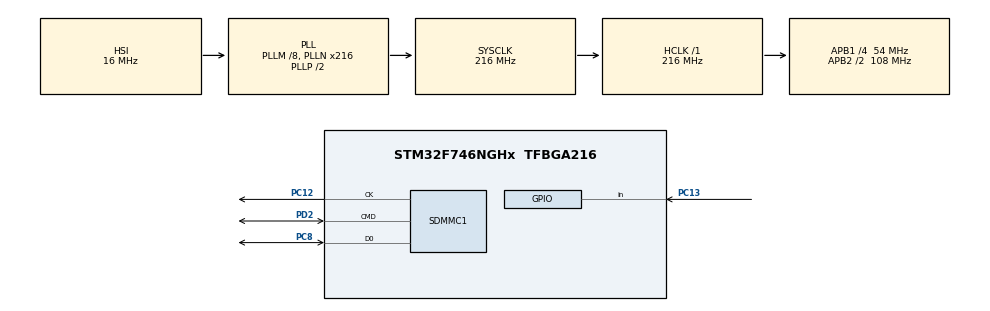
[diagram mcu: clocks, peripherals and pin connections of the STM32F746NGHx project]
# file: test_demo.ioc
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CORTEX_M7.CPU_DCache=Enabled
CORTEX_M7.CPU_ICache=Enabled
Dma.Request0=SDMMC1_RX
Dma.SDMMC1_RX.0.Direction=DMA_PERIPH_TO_MEMORY
Dma.SDMMC1_RX.0.FIFOMode=DMA_FIFOMODE_ENABLE
Dma.SDMMC1_RX.0.FIFOThreshold=DMA_FIFO_THRESHOLD_FULL
Dma.SDMMC1_RX.0.Instance=DMA2_Stream3
Dma.SDMMC1_RX.0.MemBurst=DMA_MBURST_INC4
Dma.SDMMC1_RX.0.MemDataAlignment=DMA_MDATAALIGN_WORD
Dma.SDMMC1_RX.0.MemInc=DMA_MINC_ENABLE
Dma.SDMMC1_RX.0.Mode=DMA_PFCTRL
Dma.SDMMC1_RX.0.PeriphBurst=DMA_PBURST_INC4
Dma.SDMMC1_RX.0.PeriphDataAlignment=DMA_PDATAALIGN_WORD
Dma.SDMMC1_RX.0.PeriphInc=DMA_PINC_DISABLE
Dma.SDMMC1_RX.0.Priority=DMA_PRIORITY_LOW
FATFS.BSP.number=1
FATFS0.BSP.STBoard=false
FATFS0.BSP.api=Unknown
FATFS0.BSP.instance=PC13
FATFS0.BSP.ip=GPIO
FATFS0.BSP.mode=Input
FATFS0.BSP.name=Detect_SDIO
FATFS0.BSP.solution=PC13
Mcu.Family=STM32F7
Mcu.Name=STM32F746NGHx
Mcu.Package=TFBGA216
NVIC.DMA2_Stream3_IRQn=true\:0\:0\:false\:false\:true\:false\:true\:true
NVIC.PriorityGroup=NVIC_PRIORITYGROUP_4
PA13.Mode=Trace_Asynchronous_SW
PA13.Signal=SYS_JTMS-SWDIO
PA14.Mode=Trace_Asynchronous_SW
PA14.Signal=SYS_JTCK-SWCLK
PB3.Mode=Trace_Asynchronous_SW
PB3.Signal=SYS_JTDO-SWO
PC12.Mode=SD_1_bit
PC12.Signal=SDMMC1_CK
PC13.GPIO_PuPd=GPIO_PULLUP
PC13.Signal=GPIO_Input
PC8.Mode=SD_1_bit
PC8.Signal=SDMMC1_D0
PD2.Mode=SD_1_bit
PD2.Signal=SDMMC1_CMD
PH0/OSC_IN.Mode=HSE-External-Oscillator
PH0/OSC_IN.Signal=RCC_OSC_IN
PH1/OSC_OUT.Mode=HSE-External-Oscillator
PH1/OSC_OUT.Signal=RCC_OSC_OUT
ProjectManager.HeapSize=0x8000
ProjectManager.StackSize=0x4000
ProjectManager.TargetToolchain=STM32CubeIDE
RCC.AHBFreq_Value=216000000
RCC.APB1CLKDivider=RCC_HCLK_DIV4
RCC.APB1Freq_Value=54000000
RCC.APB1TimFreq_Value=108000000
RCC.APB2CLKDivider=RCC_HCLK_DIV2
RCC.APB2Freq_Value=108000000
RCC.APB2TimFreq_Value=216000000
RCC.CortexFreq_Value=216000000
RCC.HCLKFreq_Value=216000000
RCC.HSE_VALUE=25000000
RCC.HSI_VALUE=16000000
RCC.LSE_VALUE=32768
RCC.PLLM=8
RCC.PLLN=216
RCC.PLLQ=9
RCC.PLLSourceVirtual=RCC_PLLSOURCE_HSI
RCC.SDMMCClockSelection=RCC_SDMMC1CLKSOURCE_CLK48
RCC.SYSCLKFreq_VALUE=216000000
RCC.SYSCLKSource=RCC_SYSCLKSOURCE_PLLCLK
RCC.USBFreq_Value=48000000
RCC.VCOOutputFreq_Value=432000000
STMicroelectronics.X-CUBE-AI.7.0.0.ActivationBufferSizeList=250980
STMicroelectronics.X-CUBE-AI.7.0.0.HeapSize=0x8000
STMicroelectronics.X-CUBE-AI.7.0.0.InternalRamActivationBufferMaxSize=AI_NETWORK_DATA_ACTIVATIONS_SIZE
STMicroelectronics.X-CUBE-AI.7.0.0.LatestDirectoryUsed-865669ab1286e10dd61969507df5354d43dec8fd3103bf9847b13f9ca5f83a72=C\:\\Users\\USER\\OneDrive\\Documents\\model-training-stm32\\image_classification\\src\\experiments_outputs\\2024_11_22_15_24_55\\quantized_models
STMicroelectronics.X-CUBE-AI.7.0.0.MaximumNumberOfInputLayer=1
STMicroelectronics.X-CUBE-AI.7.0.0.MaximumNumberOfOutputLayer=1
STMicroelectronics.X-CUBE-AI.7.0.0.MaximumSizeOfInputLayer=AI_NETWORK_IN_1_SIZE_BYTES
STMicroelectronics.X-CUBE-AI.7.0.0.MaximumSizeOfOutputLayer=AI_NETWORK_OUT_1_SIZE_BYTES
STMicroelectronics.X-CUBE-AI.7.0.0.ModelActualCompression-865669ab1286e10dd61969507df5354d43dec8fd3103bf9847b13f9ca5f83a72=0.0
STMicroelectronics.X-CUBE-AI.7.0.0.ModelCompression-865669ab1286e10dd61969507df5354d43dec8fd3103bf9847b13f9ca5f83a72=1
STMicroelectronics.X-CUBE-AI.7.0.0.ModelFlashOccupation-865669ab1286e10dd61969507df5354d43dec8fd3103bf9847b13f9ca5f83a72=411492
STMicroelectronics.X-CUBE-AI.7.0.0.ModelHashList=865669ab1286e10dd61969507df5354d43dec8fd3103bf9847b13f9ca5f83a72
STMicroelectronics.X-CUBE-AI.7.0.0.ModelKind-865669ab1286e10dd61969507df5354d43dec8fd3103bf9847b13f9ca5f83a72=TFLITE
STMicroelectronics.X-CUBE-AI.7.0.0.ModelMacc-865669ab1286e10dd61969507df5354d43dec8fd3103bf9847b13f9ca5f83a72=19094660
STMicroelectronics.X-CUBE-AI.7.0.0.ModelName-865669ab1286e10dd61969507df5354d43dec8fd3103bf9847b13f9ca5f83a72=network
STMicroelectronics.X-CUBE-AI.7.0.0.ModelNameList=network
STMicroelectronics.X-CUBE-AI.7.0.0.ModelRamOccupation-865669ab1286e10dd61969507df5354d43dec8fd3103bf9847b13f9ca5f83a72=250980
STMicroelectronics.X-CUBE-AI.7.0.0.ModelStructureFile-865669ab1286e10dd61969507df5354d43dec8fd3103bf9847b13f9ca5f83a72=C\:\\Users\\USER\\OneDrive\\Documents\\model-training-stm32\\image_classification\\src\\experiments_outputs\\2024_11_22_15_24_55\\quantized_models\\quantized_model.tflite
STMicroelectronics.X-CUBE-AI.7.0.0.ModelType-865669ab1286e10dd61969507df5354d43dec8fd3103bf9847b13f9ca5f83a72=STM32Cube.AI runtime
STMicroelectronics.X-CUBE-AI.7.0.0.ReadyForCodeGeneration=true
STMicroelectronics.X-CUBE-AI.7.0.0.StackSize=0x4000
STMicroelectronics.X-CUBE-AI.7.0.0.WorkingBufferStartAddrList=0xFFFFFFFF
STMicroelectronics.X-CUBE-AI.7.0.0.XAaCUBEAaAICcArtificialOoIntelligenceJjCore=true
VP_CRC_VS_CRC.Mode=CRC_Activate
VP_FATFS_VS_SDIO.Mode=SDIO
VP_LIBJPEG_VS_JPEGLIB.Mode=Enabled
VP_STMicroelectronics.X-CUBE-AI_VS_ArtificialOoIntelligenceJjXAaCUBEAaAI_7.0.0.Mode=ArtificialOoIntelligenceJjXAaCUBEAaAI
board=STM32F746G-DISCO

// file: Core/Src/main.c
/* USER CODE BEGIN Header */
/**
  ******************************************************************************
  * @file           : main.c
  * @brief          : Main program body
  ******************************************************************************
  * @attention
  *
  * Copyright (c) 2024 STMicroelectronics.
  * All rights reserved.
  *
  * This software is licensed under terms that can be found in the LICENSE file
  * in the root directory of this software component.
  * If no LICENSE file comes with this software, it is provided AS-IS.
  *
  ******************************************************************************
  */
/* USER CODE END Header */
#include "main.h"
#include "fatfs.h"
#include "libjpeg.h"

/* USER CODE BEGIN Includes */
#include <string.h>
#include <stdlib.h>
#include <stdio.h>
#include <stdint.h>

// for BSP
#include "stm32746g_discovery.h"
#include "stm32746g_discovery_lcd.h"
#include "stm32746g_discovery_sdram.h"

// for AI
#include "ai_datatypes_defines.h"
#include "ai_platform.h"
#include "network.h"	// AI model header
#include "network_data.h"	// AI model data header

/* USER CODE END Includes */

/* USER CODE BEGIN PTD */
FATFS fs;             // File system object
FIL file;             // File object
uint8_t workBuffer[512]; // Work buffer for FATFS
extern SDRAM_HandleTypeDef sdramHandle;     // SDRAM handle
extern LTDC_HandleTypeDef hLtdcHandler; // LTDC handle

/* USER CODE END PTD */

CRC_HandleTypeDef hcrc;

SD_HandleTypeDef hsd1;
DMA_HandleTypeDef hdma_sdmmc1_rx;
DMA_HandleTypeDef hdma_sdmmc1_tx;

void SystemClock_Config(void);
static void MX_GPIO_Init(void);
static void MX_DMA_Init(void);
static void MX_SDMMC1_SD_Init(void);
static void MX_CRC_Init(void);
/* USER CODE BEGIN PFP */
void LCD_Init(void);
void DisplayJPG(const char *filename);
int read_binary_file(const char *file_name, uint8_t *buffer, uint32_t buffer_size);
int has_bin_extension(const char *filename);
int has_corresponding_jpg(const char *bin_filename, char *jpg_filename);

/* USER CODE END PFP */

int main(void)
{

  /* Enable the CPU Cache */

  /* Enable I-Cache---------------------------------------------------------*/
  SCB_EnableICache();

  /* Enable D-Cache---------------------------------------------------------*/
  SCB_EnableDCache();

  /* MCU Configuration--------------------------------------------------------*/

  /* Reset of all peripherals, Initializes the Flash interface and the Systick. */
  HAL_Init();

  /* Configure the system clock */
  SystemClock_Config();

  /* Initialize all configured peripherals */
  MX_GPIO_Init();
  MX_DMA_Init();
  MX_SDMMC1_SD_Init();
  MX_FATFS_Init();
  MX_LIBJPEG_Init();
  MX_CRC_Init();
  /* USER CODE BEGIN 2 */
  HAL_Delay(1000);

  // Debug SD initialization
  printf("Initializing SD...\n");
  if (BSP_SD_Init() != MSD_OK) {
  		printf("SD card initialization failed\n");
  		while (1);  // Stop execution if SD card initialization fails
  	}
  printf("SD initialized successfully\n");

  // Debug SDRAM Initialization
  printf("Initializing SDRAM...\n");
  if (BSP_SDRAM_Init() != SDRAM_OK) {
      printf("SDRAM initialization failed\n");
      Error_Handler();
  }
	printf("SDRAM initialized successfully\n");

	// Debug LCD Initialization
	printf("Initializing LCD...\n");
	LCD_Init();
	printf("LCD initialized successfully\n");

	if (f_mount(&fs, (TCHAR const*) SDPath, 0) == FR_OK) {
		printf("SD card mounted successfully\n");
	} else {
		printf("Failed to mount SD card\n");
		while (1);  // Stop execution if mounting fails
	}
	// Test directory access
	DIR dir;
	FRESULT res = f_opendir(&dir, SDPath);  // Test root directory access
	if (res == FR_OK) {
		printf("Root directory accessed successfully.\n");
		f_closedir(&dir);  // Close the directory
	} else {
		printf("Failed to access SD card root directory. Error code: %d\n",res);
		if (res == FR_INVALID_NAME) {
			printf("Hint: Invalid path or SD card not formatted properly.\n");
		}
		while (1);  // Stop execution if directory access fails
	}

	/* AI initialization */
	ai_error ai_err;
	ai_i8 nbatch;

	// Chunk of memory used to hold intermediate values for neural network
	AI_ALIGNED(4) ai_u8 activations[AI_NETWORK_DATA_ACTIVATIONS_SIZE];

	// Buffers used to store input and output tensor
	AI_ALIGNED(4) ai_u8 in_data[AI_NETWORK_IN_1_SIZE_BYTES];
	AI_ALIGNED(4) ai_float out_data[AI_NETWORK_OUT_1_SIZE_BYTES];

	// Pointer to our model
	ai_handle robotDetection = AI_HANDLE_NULL;

	// Initialize wrapper structures that hold pointers to data and info
	// about data (tensor height, width, channels)
	ai_buffer ai_input_network[AI_NETWORK_IN_NUM] = AI_NETWORK_IN;
	ai_buffer ai_output_network[AI_NETWORK_OUT_NUM] = AI_NETWORK_OUT;

	// Set working memory and get weights/biases from model
	ai_network_params ai_params = AI_NETWORK_PARAMS_INIT(AI_NETWORK_DATA_WEIGHTS(ai_network_data_weights_get()), AI_NETWORK_DATA_ACTIVATIONS(activations));

	// Set pointers wrapper structures to our data buffers
	ai_input_network[0].n_batches = 1;
	ai_input_network[0].data = AI_HANDLE_PTR(in_data);
	ai_output_network[0].n_batches = 1;
	ai_output_network[0].data = AI_HANDLE_PTR(out_data);

	printf("Initializing neural network...\n");
	ai_err = ai_network_create(&robotDetection, AI_NETWORK_DATA_CONFIG);
	if (ai_err.type != AI_ERROR_NONE) {
		printf("Error Creating NN");
		while (1);
	}
	if (!ai_network_init(robotDetection, &ai_params)) {
		printf("Initializing NN Error");
		while (1);
	}

	printf("Neural network initialized\n");

	uint32_t counter = 1; // Track file count
	char buffer[20];
//	HAL_Delay(1000);
  /* USER CODE END 2 */

  /* Infinite loop */
  while (1)
  {

    /* USER CODE BEGIN 3 */

	DIR dir;
	FILINFO fno;
	FRESULT res;

	char test_path[100] = "test2"; // Path to the test folder

	// Open the test directory
	res = f_opendir(&dir, test_path);
	if (res != FR_OK) {
		printf("Failed to open test directory. Error code: %d\n", res);
		while (1);  // Stop execution if directory can't be opened
	}

	// Read files from the directory
	while (1) {
		res = f_readdir(&dir, &fno); // Read a directory item
		if (res != FR_OK || fno.fname[0] == 0)
			break; // Break on error or end of directory

		if (fno.fattrib & AM_DIR) {
			// It's a directory; skip it
			continue;
		} else {
			// Check if the file has a .bin extension
			if (has_bin_extension(fno.fname)) {
				// Display the filename being processed on the LCD
				BSP_LCD_DisplayStringAt(0, 35,(uint8_t*) "Processing File:", CENTER_MODE);
				BSP_LCD_DisplayStringAt(0, 55, (uint8_t*) fno.fname,CENTER_MODE);
				printf("\nProcessing %s\n", fno.fname);

				// Check for a corresponding .jpg file
				char jpg_filename[100];
                if (has_corresponding_jpg(fno.fname, jpg_filename)) {
                    // Display the .jpg file
                    printf("Displaying image: %s\n", jpg_filename);
                    DisplayJPG(jpg_filename); // Function to display the .jpg file on the LCD
                    HAL_Delay(3000); // Add delay for user to see the image
                } else {
                    printf("No corresponding image found for %s\n", fno.fname);
                }

                // Read the binary file into in_data
				if (read_binary_file(fno.fname, in_data, sizeof(in_data))!= 0) {
					printf("read error\n");
					HAL_Delay(2000); // Wait before continuing
					continue; // Skip to the next file
				}

				// Display "Performing Inference" on the LCD
				BSP_LCD_DisplayStringAt(0, 110,(uint8_t*) "Performing Inference", CENTER_MODE);

				// Perform inference
				uint32_t start_time = HAL_GetTick();
				nbatch = ai_network_run(robotDetection,&ai_input_network[0], &ai_output_network[0]);
				uint32_t end_time = HAL_GetTick();
				uint32_t inference_time = end_time - start_time;

				if (nbatch <= 0) {
					printf("Inference failed for %s\n", fno.fname);
					HAL_Delay(2000); // Wait before continuing
					continue; // Skip to the next file
				}

				// Extract confidence scores
				float confidence_robot = ((float*) out_data)[0];
				float confidence_non_robot = 1.0f - confidence_robot;

				char result_buffer[50];
				char time_buffer[30];

				// Determine the output based on confidence
				if (confidence_robot >= 0.5) {
					snprintf(result_buffer, sizeof(result_buffer),"Robot: %.2f%%", confidence_robot * 100.0);
					BSP_LCD_SetBackColor(LCD_COLOR_GREEN);
					BSP_LCD_DisplayStringAt(0, 130,(uint8_t*) "Robot Detected", CENTER_MODE);
					printf("Performing inference %s\n", fno.fname);
					printf("Robot confidence: %.2f%%\n", confidence_robot * 100.0);
					printf("Output: Robot detected\n");
				} else {
					snprintf(result_buffer, sizeof(result_buffer),"Non-Robot: %.2f%%", confidence_non_robot * 100.0);
					BSP_LCD_SetBackColor(LCD_COLOR_BLUE);
					BSP_LCD_DisplayStringAt(0, 130, (uint8_t*) "Non-Robot Detected", CENTER_MODE);
					printf("Performing inference %s\n", fno.fname);
					printf("Non-robot confidence: %.2f%%\n", confidence_non_robot * 100.0);
					printf("Output: Non-robot detected\n");
				}

				snprintf(time_buffer, sizeof(time_buffer), "Time: %lu ms", inference_time);

				// Display results on the LCD
				BSP_LCD_SetBackColor(LCD_COLOR_WHITE);
				BSP_LCD_SetTextColor(LCD_COLOR_BLACK);
				BSP_LCD_DisplayStringAt(0, 170,(uint8_t*) result_buffer, CENTER_MODE);
				BSP_LCD_DisplayStringAt(0, 200, (uint8_t*) time_buffer,CENTER_MODE);

				snprintf(buffer, sizeof(buffer), "File Count: %lu", counter++);
				BSP_LCD_DisplayStringAt(0, 220, (uint8_t *)buffer, CENTER_MODE);

				// Delay
				HAL_Delay(1000);
			}
		}
		BSP_LCD_Clear(LCD_COLOR_WHITE);
	}

	f_closedir(&dir);
	counter = 1;
	BSP_LCD_Clear(LCD_COLOR_WHITE);

  }
  /* USER CODE END 3 */
}

void SystemClock_Config(void)
{
  RCC_OscInitTypeDef RCC_OscInitStruct = {0};
  RCC_ClkInitTypeDef RCC_ClkInitStruct = {0};

  /** Configure the main internal regulator output voltage
  */
  __HAL_RCC_PWR_CLK_ENABLE();
  __HAL_PWR_VOLTAGESCALING_CONFIG(PWR_REGULATOR_VOLTAGE_SCALE1);

  /** Initializes the RCC Oscillators according to the specified parameters
  * in the RCC_OscInitTypeDef structure.
  */
  RCC_OscInitStruct.OscillatorType = RCC_OSCILLATORTYPE_HSI;
  RCC_OscInitStruct.HSIState = RCC_HSI_ON;
  RCC_OscInitStruct.HSICalibrationValue = RCC_HSICALIBRATION_DEFAULT;
  RCC_OscInitStruct.PLL.PLLState = RCC_PLL_ON;
  RCC_OscInitStruct.PLL.PLLSource = RCC_PLLSOURCE_HSI;
  RCC_OscInitStruct.PLL.PLLM = 8;
  RCC_OscInitStruct.PLL.PLLN = 216;
  RCC_OscInitStruct.PLL.PLLP = RCC_PLLP_DIV2;
  RCC_OscInitStruct.PLL.PLLQ = 9;
  if (HAL_RCC_OscConfig(&RCC_OscInitStruct) != HAL_OK)
  {
    Error_Handler();
  }

  /** Activate the Over-Drive mode
  */
  if (HAL_PWREx_EnableOverDrive() != HAL_OK)
  {
    Error_Handler();
  }

  /** Initializes the CPU, AHB and APB buses clocks
  */
  RCC_ClkInitStruct.ClockType = RCC_CLOCKTYPE_HCLK|RCC_CLOCKTYPE_SYSCLK
                              |RCC_CLOCKTYPE_PCLK1|RCC_CLOCKTYPE_PCLK2;
  RCC_ClkInitStruct.SYSCLKSource = RCC_SYSCLKSOURCE_PLLCLK;
  RCC_ClkInitStruct.AHBCLKDivider = RCC_SYSCLK_DIV1;
  RCC_ClkInitStruct.APB1CLKDivider = RCC_HCLK_DIV4;
  RCC_ClkInitStruct.APB2CLKDivider = RCC_HCLK_DIV2;

  if (HAL_RCC_ClockConfig(&RCC_ClkInitStruct, FLASH_LATENCY_7) != HAL_OK)
  {
    Error_Handler();
  }
}

static void MX_CRC_Init(void)
{

  hcrc.Instance = CRC;
  hcrc.Init.DefaultPolynomialUse = DEFAULT_POLYNOMIAL_ENABLE;
  hcrc.Init.DefaultInitValueUse = DEFAULT_INIT_VALUE_ENABLE;
  hcrc.Init.InputDataInversionMode = CRC_INPUTDATA_INVERSION_NONE;
  hcrc.Init.OutputDataInversionMode = CRC_OUTPUTDATA_INVERSION_DISABLE;
  hcrc.InputDataFormat = CRC_INPUTDATA_FORMAT_BYTES;
  if (HAL_CRC_Init(&hcrc) != HAL_OK)
  {
    Error_Handler();
  }

}

static void MX_SDMMC1_SD_Init(void)
{

  hsd1.Instance = SDMMC1;
  hsd1.Init.ClockEdge = SDMMC_CLOCK_EDGE_RISING;
  hsd1.Init.ClockBypass = SDMMC_CLOCK_BYPASS_DISABLE;
  hsd1.Init.ClockPowerSave = SDMMC_CLOCK_POWER_SAVE_DISABLE;
  hsd1.Init.BusWide = SDMMC_BUS_WIDE_1B;
  hsd1.Init.HardwareFlowControl = SDMMC_HARDWARE_FLOW_CONTROL_DISABLE;
  hsd1.Init.ClockDiv = 0;

}

static void MX_DMA_Init(void)
{

  /* DMA controller clock enable */
  __HAL_RCC_DMA2_CLK_ENABLE();

  /* DMA interrupt init */
  /* DMA2_Stream3_IRQn interrupt configuration */
  HAL_NVIC_SetPriority(DMA2_Stream3_IRQn, 0, 0);
  HAL_NVIC_EnableIRQ(DMA2_Stream3_IRQn);
  /* DMA2_Stream6_IRQn interrupt configuration */
  HAL_NVIC_SetPriority(DMA2_Stream6_IRQn, 0, 0);
  HAL_NVIC_EnableIRQ(DMA2_Stream6_IRQn);

}

static void MX_GPIO_Init(void)
{
  GPIO_InitTypeDef GPIO_InitStruct = {0};

  /* GPIO Ports Clock Enable */
  __HAL_RCC_GPIOB_CLK_ENABLE();
  __HAL_RCC_GPIOC_CLK_ENABLE();
  __HAL_RCC_GPIOA_CLK_ENABLE();
  __HAL_RCC_GPIOD_CLK_ENABLE();
  __HAL_RCC_GPIOH_CLK_ENABLE();

  /*Configure GPIO pin : PC13 */
  GPIO_InitStruct.Pin = GPIO_PIN_13;
  GPIO_InitStruct.Mode = GPIO_MODE_INPUT;
  GPIO_InitStruct.Pull = GPIO_PULLUP;
  HAL_GPIO_Init(GPIOC, &GPIO_InitStruct);

}

/* USER CODE BEGIN 4 */
int read_binary_file(const char *file_name, uint8_t *buffer,
		uint32_t buffer_size) {
	DIR dir;
	printf("SDPath: %s\n", SDPath);  // Debug SDPath
	FRESULT res = f_opendir(&dir, SDPath);
	if (res != FR_OK) {
		printf("Failed to access SD card root directory. Error code: %d\n",res);
		return -1;
	}
	printf("Root directory opened successfully.\n");

	printf("Attempting to open file: %s\n", file_name);

	// Check file existence
	FILINFO file_info;
	res = f_stat(file_name, &file_info);
	if (res != FR_OK) {
		printf("Error: File not found - %s. FatFS Error: %d\n", file_name, res);
		return -1;
	}

	// Check file size
	if (file_info.fsize != buffer_size) {
		printf("File size mismatch. Expected: %lu, Found: %lu\n", buffer_size,file_info.fsize);
		return -1;
	}

	// Open file
	res = f_open(&file, file_name, FA_READ);
	if (res != FR_OK) {
		printf("Error opening file: %s. FatFS Error: %d\n", file_name, res);
		return -1;
	}

	// Read file
	UINT bytes_read;
	res = f_read(&file, buffer, buffer_size, &bytes_read);
	if (res != FR_OK || bytes_read != buffer_size) {
		printf("Error reading file: %s. FatFS Error: %d, Bytes read: %u\n",file_name, res, bytes_read);
		f_close(&file);
		return -1;
	}

	// Close file
	f_close(&file);
	printf("File read successfully: %s\n", file_name);
	return 0;
}

void LCD_Init(void) {

	BSP_SDRAM_Init();
	BSP_SD_Init();
    BSP_LCD_Init();
    BSP_LCD_LayerDefaultInit(0, LCD_FB_START_ADDRESS);

    // Set pixel format explicitly to RGB565
    LTDC_LayerCfgTypeDef LayerConfig = {0};
    LayerConfig.WindowX0 = 0;
    LayerConfig.WindowX1 = BSP_LCD_GetXSize();
    LayerConfig.WindowY0 = 0;
    LayerConfig.WindowY1 = BSP_LCD_GetYSize();
    LayerConfig.PixelFormat = LTDC_PIXEL_FORMAT_RGB565;
    LayerConfig.FBStartAdress = LCD_FB_START_ADDRESS;
    LayerConfig.Alpha = 255;
    LayerConfig.Alpha0 = 0;
    LayerConfig.Backcolor.Blue = 0;
    LayerConfig.Backcolor.Green = 0;
    LayerConfig.Backcolor.Red = 0;
    LayerConfig.BlendingFactor1 = LTDC_BLENDING_FACTOR1_PAxCA;
    LayerConfig.BlendingFactor2 = LTDC_BLENDING_FACTOR2_PAxCA;
    LayerConfig.ImageWidth = BSP_LCD_GetXSize();
    LayerConfig.ImageHeight = BSP_LCD_GetYSize();

    if (HAL_LTDC_ConfigLayer(&hLtdcHandler, &LayerConfig, 0) != HAL_OK) {
        printf("LTDC layer configuration failed\n");
        Error_Handler();
    }

    BSP_LCD_SelectLayer(0);
    BSP_LCD_Clear(LCD_COLOR_WHITE);
    BSP_LCD_DisplayOn();
    BSP_LCD_SetFont(&Font20);

    printf("LCD configured\n");
}

void DisplayJPG(const char *filename) {
    struct jpeg_decompress_struct cinfo;
    struct jpeg_error_mgr jerr;
    uint8_t *jpeg_output_buffer;

    FIL file;

    if (f_open(&file, filename, FA_READ) != FR_OK) {
        printf("Failed to open file: %s\n", filename);
        BSP_LCD_DisplayStringAt(0, 0, (uint8_t *)"File Open Error", CENTER_MODE);
        return;
    }
    printf("File %s opened successfully\n", filename);

    cinfo.err = jpeg_std_error(&jerr);
    jpeg_create_decompress(&cinfo);
    jpeg_stdio_src(&cinfo, &file);
    jpeg_read_header(&cinfo, TRUE);
    jpeg_start_decompress(&cinfo);

    printf("Image dimensions: %dx%d\n", cinfo.output_width, cinfo.output_height);

    uint32_t buffer_size = cinfo.output_width * cinfo.output_height * cinfo.output_components;
    jpeg_output_buffer = (uint8_t *)aligned_alloc(4, buffer_size);
    if (!jpeg_output_buffer) {
        printf("Failed to allocate memory for JPEG decoding\n");
        BSP_LCD_DisplayStringAt(0, 0, (uint8_t *)"Memory Error", CENTER_MODE);
        jpeg_destroy_decompress(&cinfo);
        f_close(&file);
        return;
    }
    printf("Memory allocated for JPEG decoding\n");

    while (cinfo.output_scanline < cinfo.output_height) {
        uint8_t *row_pointer[1] = {
            jpeg_output_buffer + cinfo.output_scanline * cinfo.output_width * cinfo.output_components
        };
        if (jpeg_read_scanlines(&cinfo, row_pointer, 1) != 1) {
            printf("Error reading scanline %d\n", cinfo.output_scanline);
            free(jpeg_output_buffer);
            jpeg_destroy_decompress(&cinfo);
            f_close(&file);
            return;
        }
        printf("Line %d decoded\n", cinfo.output_scanline);
    }

    jpeg_finish_decompress(&cinfo);
    jpeg_destroy_decompress(&cinfo);
    f_close(&file);

    printf("JPEG decompression complete. Rendering image...\n");

    // Display the decompressed image on the LCD
    uint16_t *framebuffer = (uint16_t *)LCD_FB_START_ADDRESS;
    printf("Starting image rendering...\n");

    // Calculate offsets for center-left positioning
    int x_offset = 15; // Align to left
    int y_offset = (BSP_LCD_GetYSize() - cinfo.output_height) / 2;

    for (int y = 0; y < cinfo.output_height; y++) {
        for (int x = 0; x < cinfo.output_width; x++) {
            uint8_t *pixel = &jpeg_output_buffer[(y * cinfo.output_width + x) * 3]; // RGB888
            uint16_t color = ((pixel[0] >> 3) << 11) |  // Red
                             ((pixel[1] >> 2) << 5)  |  // Green
                             (pixel[2] >> 3);           // Blue (RGB565)

            framebuffer[(y + y_offset) * BSP_LCD_GetXSize() + (x + x_offset)] = color;
        }
    }
    printf("Image rendering completed\n");

    // Free the decompressed image buffer
    free(jpeg_output_buffer);
    printf("JPEG image displayed successfully\n");

    // Display text beside the image
//    int text_x = cinfo.output_width + 20; // Offset text slightly to the right of the image
//    int text_y = y_offset;

    BSP_LCD_SetFont(&Font20);
    BSP_LCD_SetTextColor(LCD_COLOR_BLACK); // Set text color to black
//    BSP_LCD_DisplayStringAt(text_x, text_y +10, (uint8_t *)"IMG RENDERING", LEFT_MODE);
    printf("image rendering\n");

//    char buffer[50]; // Buffer to hold the generated strings
//
//    // Display the filename dynamically
//    sprintf(buffer, "%s", filename);
    BSP_LCD_DisplayStringAt(0, 75, (uint8_t *)filename, CENTER_MODE);

//    // Display a dynamic message for the image rendering
//    sprintf(buffer, "Displaying %s", filename);
//    BSP_LCD_DisplayStringAt(text_x, text_y + 60, (uint8_t *)buffer, LEFT_MODE);
//
//    BSP_LCD_DisplayStringAt(text_x, text_y + 90, (uint8_t *)"Successful Display", LEFT_MODE);
}

int has_bin_extension(const char *filename) {
    const char *ext = strrchr(filename, '.');
    if (ext != NULL) {
        return (strcmp(ext, ".bin") == 0 || strcmp(ext, ".BIN") == 0);
    }
    return 0;
}

int has_corresponding_jpg(const char *bin_filename, char *jpg_filename) {
    // Change the .bin extension to .jpg
    strcpy(jpg_filename, bin_filename);
    char *ext = strrchr(jpg_filename, '.');
    if (ext) {
        strcpy(ext, ".jpg");
    } else {
        return 0; // No extension found in the filename
    }

    // Check if the file exists on the SD card
    FIL file;
    if (f_open(&file, jpg_filename, FA_READ) == FR_OK) {
        f_close(&file);
        return 1;
    }
    return 0;
}

/* USER CODE END 4 */

void Error_Handler(void)
{
  __disable_irq();
  while (1)
  {
  }
}
